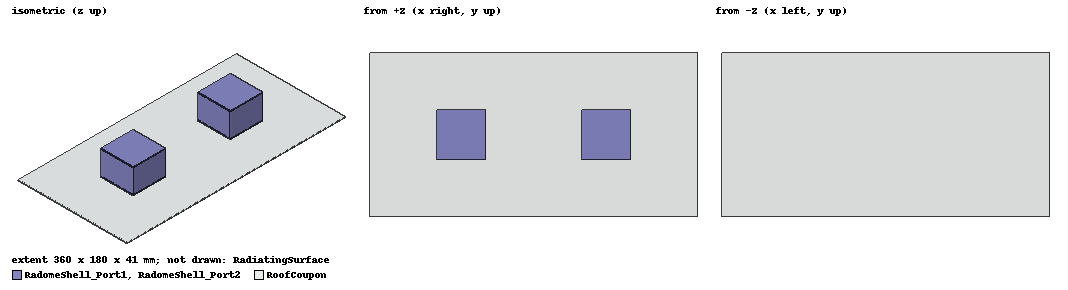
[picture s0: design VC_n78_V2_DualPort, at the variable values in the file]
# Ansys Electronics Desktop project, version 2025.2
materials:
  vacuum: permittivity=1
  aluminum: permeability=1.000021 conductivity=38000000
  copper: permeability=0.999991 conductivity=58000000
  VC_LowLossRadome: permittivity=1.8 permeability=1 dielectric_loss_tangent=0.001

design VC_n78_V2_DualPort (HFSS, HFSS Terminal Network, model units mm)
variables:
  ground_x = 360mm
  ground_y = 180mm
  ground_t = 1mm
  height = 24mm
  top_w = 16mm
  base_w = 22mm
  neck_w = 4mm
  shoulder_h = 5mm
  feed_gap = 0.8mm
  blade_t = 0.5mm
  separation = 160mm
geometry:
  RoofCoupon [aluminum] = box(corner=(-ground_x/2, -ground_y/2, -ground_t), size=(ground_x, ground_y, ground_t))
  Radiator1_SlantMinus [copper] = polyline(xyz in mm: (-80, -2, 0.8) (-83.535534, -11, 4.3355339) (-96.970563, -8, 17.770563) (-96.970563, 8, 17.770563) (-83.535534, 11, 4.3355339) (-80, 2, 0.8) (-80, -2, 0.8), closed, covered)
  Port1_Sheet = polyline(x=-80mm, yz in mm: (-2, 0) (-2, 0.8) (2, 0.8) (2, 0) (-2, 0), closed, covered)
  Radiator2_SlantPlus [copper] = polyline(xyz in mm: (80, -2, 0.8) (83.535534, -11, 4.3355339) (96.970563, -8, 17.770563) (96.970563, 8, 17.770563) (83.535534, 11, 4.3355339) (80, 2, 0.8) (80, -2, 0.8), closed, covered)
  Port2_Sheet = polyline(x=80mm, yz in mm: (-2, 0) (-2, 0.8) (2, 0.8) (2, 0) (-2, 0), closed, covered)
  RadomeShell_Port1 [VC_LowLossRadome] = box(corner=(-107mm, -27mm, 0mm), size=(54mm, 54mm, 40mm))
  RadomeShell_Port1_InteriorTool = box(corner=(-106mm, -26mm, 0mm), size=(52mm, 52mm, 39mm))
  RadomeShell_Port1.subtract(RadomeShell_Port1_InteriorTool)
  RadomeShell_Port2 [VC_LowLossRadome] = box(corner=(53mm, -27mm, 0mm), size=(54mm, 54mm, 40mm))
  RadomeShell_Port2_InteriorTool = box(corner=(54mm, -26mm, 0mm), size=(52mm, 52mm, 39mm))
  RadomeShell_Port2.subtract(RadomeShell_Port2_InteriorTool)
  RadiatingSurface [vacuum] = region(absolute_offset=30.30303mm on all sides)
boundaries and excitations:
  FiniteCond_Radiator1_SlantMinus: Finite Conductivity Objects=Radiator1_SlantMinus UseMaterial Material=copper Thickness=blade_t Roughness=2um IsTwoSided
  FiniteCond_Radiator2_SlantPlus: Finite Conductivity Objects=Radiator2_SlantPlus UseMaterial Material=copper Thickness=blade_t Roughness=2um IsTwoSided
  Open1: Radiation Objects=RadiatingSurface
  Port1_T1: Terminal port=Port1 Edges=Radiator1_SlantMinus.edge(at (-80, 0, 0.8)) TerminalResistance=50ohm
  Port2_T1: Terminal port=Port2 Edges=Radiator2_SlantPlus.edge(at (80, 0, 0.8)) TerminalResistance=50ohm
  Port1: Lumped Port Faces=Port1_Sheet.face LumpedPortType=Terminal Impedance=50ohm
  Port2: Lumped Port Faces=Port2_Sheet.face LumpedPortType=Terminal Impedance=50ohm
  reference conductors: RoofCoupon
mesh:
  AbsorbingBoundaryAccuracy: LengthBased Faces=RadiatingSurface.face(all 6) MaxLength=25mm
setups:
  Setup_V2_Dual: HfssDriven Frequency=3.55GHz MaxDeltaS=0.005 MaximumPasses=18 MinimumPasses=3 MinimumConvergedPasses=2 PercentRefinement=10 BasisOrder=1 PortAccuracy=4 DrivenSolverType="Direct Solver"
    sweep Sweep_V2_Dual: 3.3GHz to 3.8GHz step 0.025GHz; Type=Interpolating InterpTolerance=0.5 InterpMaxSolns=250 InterpUsePortImped=false PassivityErrorTolerance=0.0001
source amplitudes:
  Port1:1: 1V 0deg
  Port2:1: 0V 0deg
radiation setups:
  3D: Infinite Sphere Theta=0deg..180deg step 2deg Phi=-180deg..180deg step 2deg
  Elevation: Infinite Sphere Theta=-180deg..180deg step 1deg Phi=0deg..90deg step 90deg
  Azimuth: Infinite Sphere Theta=90deg..90deg step 0deg Phi=-180deg..180deg step 1deg
  FFSphere_V2_Dual: Infinite Sphere Theta=0deg..180deg step 2.5deg Phi=0deg..360deg step 2.5deg
